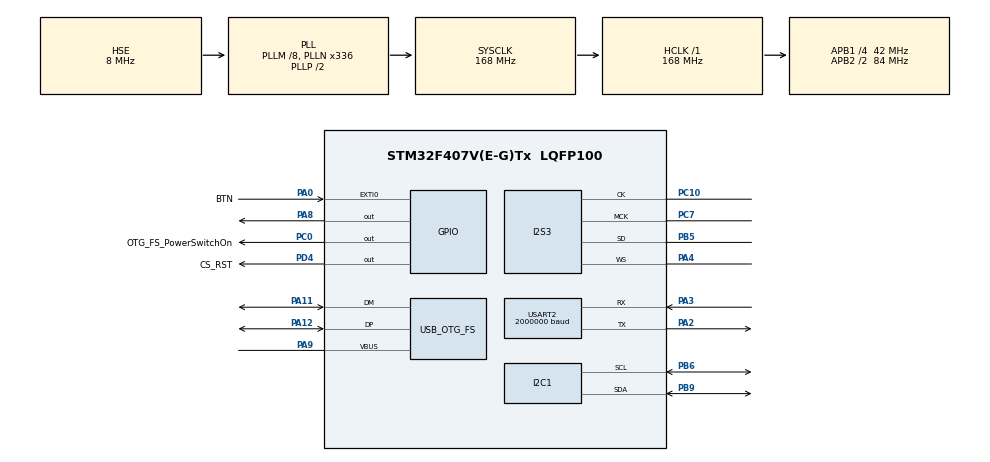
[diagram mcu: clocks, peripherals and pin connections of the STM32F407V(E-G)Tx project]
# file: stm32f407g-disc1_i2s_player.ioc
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ARM.CMSIS.5.6.0.CMSISJjCORE=true
ARM.CMSIS.5.6.0.CMSISJjDSP=Library
Dma.Request0=SPI3_TX
Dma.SPI3_TX.0.Direction=DMA_MEMORY_TO_PERIPH
Dma.SPI3_TX.0.FIFOMode=DMA_FIFOMODE_DISABLE
Dma.SPI3_TX.0.Instance=DMA1_Stream5
Dma.SPI3_TX.0.MemDataAlignment=DMA_MDATAALIGN_HALFWORD
Dma.SPI3_TX.0.MemInc=DMA_MINC_ENABLE
Dma.SPI3_TX.0.Mode=DMA_CIRCULAR
Dma.SPI3_TX.0.PeriphDataAlignment=DMA_PDATAALIGN_HALFWORD
Dma.SPI3_TX.0.PeriphInc=DMA_PINC_DISABLE
Dma.SPI3_TX.0.Priority=DMA_PRIORITY_LOW
FATFS._FS_EXFAT=1
FATFS._MAX_SS=4096
FATFS._MULTI_PARTITION=1
FATFS._USE_EXPAND=1
FATFS._USE_FIND=1
FATFS._USE_FORWARD=1
FATFS._USE_LABEL=1
FATFS._USE_LFN=1
FATFS._VOLUMES=4
I2C1.I2C_Mode=I2C_Fast
I2S3.AudioFreq=I2S_AUDIOFREQ_96K
I2S3.DataFormat=I2S_DATAFORMAT_16B
I2S3.ErrorAudioFreq=-0.01 %
I2S3.FullDuplexMode=I2S_FULLDUPLEXMODE_DISABLE
I2S3.Instance=SPI$Index
I2S3.RealAudioFreq=95.982 KHz
I2S3.Standard=I2S_STANDARD_PHILIPS
I2S3.VirtualMode=I2S_MODE_MASTER
Mcu.Family=STM32F4
Mcu.Name=STM32F407V(E-G)Tx
Mcu.Package=LQFP100
NVIC.DMA1_Stream5_IRQn=true\:0\:0\:false\:false\:true\:false\:true\:true
NVIC.OTG_FS_IRQn=true\:0\:0\:false\:false\:true\:false\:true\:true
NVIC.PriorityGroup=NVIC_PRIORITYGROUP_4
NVIC.SPI3_IRQn=true\:0\:0\:false\:false\:true\:true\:true\:true
PA0-WKUP.GPIO_Label=BTN
PA0-WKUP.GPIO_ModeDefaultEXTI=GPIO_MODE_IT_RISING_FALLING
PA0-WKUP.Signal=GPXTI0
PA11.Mode=Host_Only
PA11.Signal=USB_OTG_FS_DM
PA12.Mode=Host_Only
PA12.Signal=USB_OTG_FS_DP
PA13.Mode=Trace_Asynchronous_SW
PA13.Signal=SYS_JTMS-SWDIO
PA14.Mode=Trace_Asynchronous_SW
PA14.Signal=SYS_JTCK-SWCLK
PA2.Mode=Asynchronous
PA2.Signal=USART2_TX
PA3.Mode=Asynchronous
PA3.Signal=USART2_RX
PA4.Mode=Half_Duplex_Master
PA4.Signal=I2S3_WS
PA8.Signal=GPIO_Output
PA9.Mode=Activate_VBUS
PA9.Signal=USB_OTG_FS_VBUS
PB3.Mode=Trace_Asynchronous_SW
PB3.Signal=SYS_JTDO-SWO
PB5.Mode=Half_Duplex_Master
PB5.Signal=I2S3_SD
PB6.GPIO_Pu=GPIO_PULLUP
PB6.Mode=I2C
PB6.Signal=I2C1_SCL
PB9.GPIO_Pu=GPIO_PULLUP
PB9.Mode=I2C
PB9.Signal=I2C1_SDA
PC0.GPIO_Label=OTG_FS_PowerSwitchOn
PC0.GPIO_PuPd=GPIO_NOPULL
PC0.PinState=GPIO_PIN_RESET
PC0.Signal=GPIO_Output
PC10.Mode=Half_Duplex_Master
PC10.Signal=I2S3_CK
PC7.Mode=Master_Clock_Activated
PC7.Signal=I2S3_MCK
PD4.GPIO_Label=CS_RST
PD4.PinState=GPIO_PIN_RESET
PD4.Signal=GPIO_Output
PH0-OSC_IN.Mode=HSE-External-Oscillator
PH0-OSC_IN.Signal=RCC_OSC_IN
PH1-OSC_OUT.Mode=HSE-External-Oscillator
PH1-OSC_OUT.Signal=RCC_OSC_OUT
ProjectManager.HeapSize=0x200
ProjectManager.StackSize=0x400
ProjectManager.TargetToolchain=STM32CubeIDE
RCC.48MHZClocksFreq_Value=48000000
RCC.AHBFreq_Value=168000000
RCC.APB1CLKDivider=RCC_HCLK_DIV4
RCC.APB1Freq_Value=42000000
RCC.APB1TimFreq_Value=84000000
RCC.APB2CLKDivider=RCC_HCLK_DIV2
RCC.APB2Freq_Value=84000000
RCC.APB2TimFreq_Value=168000000
RCC.CortexFreq_Value=168000000
RCC.HCLKFreq_Value=168000000
RCC.HSE_VALUE=8000000
RCC.HSI_VALUE=16000000
RCC.LSE_VALUE=32768
RCC.PLLI2SN=344
RCC.PLLM=8
RCC.PLLN=336
RCC.PLLQ=7
RCC.SYSCLKFreq_VALUE=168000000
RCC.SYSCLKSource=RCC_SYSCLKSOURCE_PLLCLK
RCC.VCOOutputFreq_Value=336000000
USART2.BaudRate=2000000
USART2.OverSampling=UART_OVERSAMPLING_8
USART2.VirtualMode=VM_ASYNC
USB_HOST.BSP.number=1
USB_HOST.USBH_HandleTypeDef-MSC_FS=hUsbHostFS
USB_HOST.VirtualModeFS=Msc
USB_HOST0.BSP.STBoard=false
USB_HOST0.BSP.api=Unknown
USB_HOST0.BSP.condition=SW_VBUS_DRIVE_MSC_FS \= false
USB_HOST0.BSP.instance=PA8
USB_HOST0.BSP.ip=GPIO
USB_HOST0.BSP.mode=Output
USB_HOST0.BSP.name=Drive_VBUS_FS
USB_HOST0.BSP.solution=PA8
USB_OTG_FS.VirtualMode=Host_Only
USB_OTG_FS.phy_itface=HCD_PHY_EMBEDDED
VP_ARM.CMSIS_VS_CMSISJjCORE_5.3.0_5.6.0.Mode=CMSISJjCORE
VP_ARM.CMSIS_VS_CMSISJjDSP_1.7.0_5.6.0.Mode=CMSISJjDSP
VP_FATFS_VS_USB.Mode=USB
VP_USB_HOST_VS_USB_HOST_MSC_FS.Mode=MSC_FS
board=custom

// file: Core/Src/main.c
/* USER CODE BEGIN Header */
/**
 ******************************************************************************
 * @file           : main.c
 * @brief          : Main program body
 ******************************************************************************
 * @attention
 *
 * Copyright (c) 2025 Lars Boegild Thomsen <lth@stm32world.com>
 * All rights reserved.
 *
 * This software is licensed under terms that can be found in the LICENSE file
 * in the root directory of this software component.
 * If no LICENSE file comes with this software, it is provided AS-IS.
 *
 ******************************************************************************
 */
/* USER CODE END Header */
#include "main.h"
#include "fatfs.h"
#include "usb_host.h"

/* USER CODE BEGIN Includes */
#include <stdio.h>
#include <math.h>
#include "arm_math.h"
#include "cs43l22.h"
/* USER CODE END Includes */

/* USER CODE BEGIN PD */

#define TAU 6.28318530717958647692
#define I2S_DMA_BUFFER_SAMPLES 96
#define I2S_DMA_BUFFER_SIZE 2 * 2 * I2S_DMA_BUFFER_SAMPLES // 2 full buffers L+R samples
#define SAMPLE_FREQ 96000
#define OUTPUT_MID 32767 // 2^16 / 2 - 1

/* USER CODE END PD */

I2C_HandleTypeDef hi2c1;

I2S_HandleTypeDef hi2s3;
DMA_HandleTypeDef hdma_spi3_tx;

UART_HandleTypeDef huart2;

/* USER CODE BEGIN PV */

const char total_uptime_filename[] = "uptime.dat";
const char tick_filename[] = "tick.txt";
const char big_filename[] = "big.dat";

uint32_t total_uptime = 0;

CS43L22_HandleTypeDef cs;

int16_t i2s_dma_buffer[I2S_DMA_BUFFER_SIZE];

float angle[2] = {
        0,
        0
};

float angle_change[2] = {
        440.0 * (TAU / SAMPLE_FREQ), // left
        880.0 * (TAU / SAMPLE_FREQ)  // right
};

float amplification[2] = {
        1,
        1
};

uint8_t dma_buffer_processing = 0;
uint32_t dma_overflow = 0;

uint32_t i2c_cb, i2c_hcb;

/* USER CODE END PV */

void SystemClock_Config(void);
static void MX_GPIO_Init(void);
static void MX_DMA_Init(void);
static void MX_USART2_UART_Init(void);
static void MX_I2S3_Init(void);
static void MX_I2C1_Init(void);
void MX_USB_HOST_Process(void);

/* USER CODE BEGIN 0 */

// Send printf to uart1
int _write(int fd, char *ptr, int len) {
    HAL_StatusTypeDef hstatus;

    if (fd == 1 || fd == 2) {
        hstatus = HAL_UART_Transmit(&huart2, (uint8_t*) ptr, len, HAL_MAX_DELAY);
        if (hstatus == HAL_OK)
            return len;
        else
            return -1;
    }
    return -1;
}

//uint8_t BSP_SD_IsDetected(void)
//{
//    __IO uint8_t status = SD_PRESENT;
//
////    if (HAL_GPIO_ReadPin(SD_DETECT_GPIO_PORT, SD_DETECT_PIN) != GPIO_PIN_RESET) {
////        status = SD_NOT_PRESENT;
////    }
//
//    return status;
//}

void ls() {

    FRESULT res;
    DIR dir;
    char *path;

    path = ""; // where you want to list

    res = f_opendir(&dir, path);

#ifdef DEBUG
    if (res != FR_OK)
        printf("res = %d f_opendir\n", res);
#endif

    if (res == FR_OK) {
        while (1) {

            FILINFO fno;

            res = f_readdir(&dir, &fno);

#ifdef DEBUG
            if (res != FR_OK)
                printf("res = %d f_readdir\n", res);
#endif

            if ((res != FR_OK) || (fno.fname[0] == 0))
                break;

            printf("%c%c%c%c %10d %s/%s\n",
                    ((fno.fattrib & AM_DIR) ? 'D' : '-'),
                    ((fno.fattrib & AM_RDO) ? 'R' : '-'),
                    ((fno.fattrib & AM_SYS) ? 'S' : '-'),
                    ((fno.fattrib & AM_HID) ? 'H' : '-'),
                    (int) fno.fsize, path, fno.fname);
        }

    }

    uint32_t free_clusters;
    FATFS *fs_ptr;

    res = f_getfree("", &free_clusters, &fs_ptr);
    if (res == FR_OK) {
        uint32_t totalBlocks = (fs_ptr->n_fatent - 2) * fs_ptr->csize;
        uint32_t freeBlocks = free_clusters * fs_ptr->csize;

        printf("Total blocks: %lu (%lu Mb)\n", totalBlocks, totalBlocks / 2000);
        printf("Free blocks : %lu (%lu Mb)\n", freeBlocks, freeBlocks / 2000);
    } else {
        printf("Unable to get free space\n");
    }

}

void process_buffer(int16_t *buffer) {

    dma_buffer_processing = 1;

    for (int i = 0; i < I2S_DMA_BUFFER_SAMPLES; ++i) { // Two samples left/right per step

        buffer[i * 2] = OUTPUT_MID * amplification[0] * arm_sin_f32(angle[0]);      // Left
        buffer[i * 2 + 1] = OUTPUT_MID * amplification[1] * arm_sin_f32(angle[1]);  // Right

        angle[0] += angle_change[0];
        angle[1] += angle_change[1];

        if (angle[0] > TAU)
            angle[0] -= TAU;
        if (angle[1] > TAU)
            angle[1] -= TAU;
    }

    dma_buffer_processing = 0;

}

void HAL_I2S_TxCpltCallback(I2S_HandleTypeDef *hi2s) {
    if (dma_buffer_processing) {
        ++dma_overflow; // Still processing previous buffer
    } else {
        process_buffer(&i2s_dma_buffer[2 * I2S_DMA_BUFFER_SAMPLES]); // Second half
        ++i2c_cb;
    }
}

void HAL_I2S_TxHalfCpltCallback(I2S_HandleTypeDef *hi2s) {
    if (dma_buffer_processing) {
        ++dma_overflow; // Still processing previous buffer
    } else {
        process_buffer(&i2s_dma_buffer[0]);
        ++i2c_hcb;
    }

}

/* USER CODE END 0 */

int main(void)
{

  /* MCU Configuration--------------------------------------------------------*/

  /* Reset of all peripherals, Initializes the Flash interface and the Systick. */
  HAL_Init();

  /* Configure the system clock */
  SystemClock_Config();

  /* Initialize all configured peripherals */
  MX_GPIO_Init();
  MX_DMA_Init();
  MX_USART2_UART_Init();
  MX_I2S3_Init();
  MX_I2C1_Init();
  MX_FATFS_Init();
  MX_USB_HOST_Init();
  /* USER CODE BEGIN 2 */

    printf("\n\n\n--------\nStarting\n");

//    printf("SD Card Information:\n");
//    printf("Block size  : %lu\n", hsd.SdCard.BlockSize);
//    printf("Block nmbr  : %lu\n", hsd.SdCard.BlockNbr);
//    printf("Card size   : %lu\n", (hsd.SdCard.BlockSize * hsd.SdCard.BlockNbr) / 1000);
//    printf("Card version: %lu\n", hsd.SdCard.CardVersion);

    if (cs_init(&cs, &hi2c1, CS43L22_DEFAULT_ADDR, CS_RST_GPIO_Port, CS_RST_Pin)) {
        printf("Error: cs_init failed\n");
    }

    cs_hp_vol(&cs, 255);

    HAL_I2S_Transmit_DMA(&hi2s3, (uint16_t*) &i2s_dma_buffer, I2S_DMA_BUFFER_SIZE);

    HAL_Delay(5000);

    uint32_t wbytes, rbytes; /* File write counts */

    if (f_mount(&USBHFatFS, "", 0) != FR_OK) {
        printf("Unable to mount disk\n");
        Error_Handler();
    }

//    if (f_open(&USERFile, total_uptime_filename, FA_OPEN_EXISTING | FA_READ) == FR_OK) {
//        if (f_read(&USERFile, &total_uptime, sizeof(total_uptime), (void*) &rbytes) == FR_OK) {
//            printf("Total uptime = %lu\n", total_uptime);
//            f_close(&USERFile);
//        } else {
//            printf("Unable to read\n");
//            Error_Handler();
//        }
//    } else {
//        // File did not exist - let's create it
//        if (f_open(&USERFile, total_uptime_filename, FA_CREATE_ALWAYS | FA_WRITE) == FR_OK) {
//            if (f_write(&USERFile, &total_uptime, sizeof(total_uptime), (void*) &wbytes) == FR_OK) {
//                printf("File %s created\n", total_uptime_filename);
//                f_close(&USERFile);
//            } else {
//                printf("Unable to write\n");
//                Error_Handler();
//            }
//        } else {
//            printf("Unable to create\n");
//            Error_Handler();
//        }
//    }

    // Create tick file if it does NOT exist
    if (f_open(&USBHFile, tick_filename, FA_CREATE_ALWAYS | FA_WRITE) == FR_OK) {
        f_close(&USBHFile);
    }

    uint8_t buf[1024]; // 1K buffer
    for (uint16_t i = 0; i < 1024; ++i) {
        buf[i] = (uint8_t) i;
    }

    uint32_t start = uwTick;
    if (f_open(&USBHFile, big_filename, FA_CREATE_ALWAYS | FA_WRITE) == FR_OK) {
        for (uint16_t i = 0; i < 100; ++i) {
            if (f_write(&USBHFile, &buf, sizeof(buf), (void*) &wbytes) != FR_OK) {
                printf("Unable to write\n");
            }
        }
        f_close(&USBHFile);
    } else {
        printf("Unable to open %s\n", big_filename);
    }
    printf("Write took %lu ms\n", uwTick - start);

    ls();

  /* USER CODE END 2 */

  /* Infinite loop */
  /* USER CODE BEGIN WHILE */

    uint32_t loop = 0;
    uint32_t now = 0;
    uint32_t next_tick = 1000;

    while (1) {

        now = uwTick;

        if (now >= next_tick) {
            printf("Tick %lu (l=%lu o=%lu ch=%lu cf=%lu)\n", now / 1000, loop, dma_overflow, i2c_hcb, i2c_cb);
            loop = 0;
            next_tick = now + 1000;
        }

        ++loop;

    /* USER CODE END WHILE */
    MX_USB_HOST_Process();

    }
}

void SystemClock_Config(void)
{
  RCC_OscInitTypeDef RCC_OscInitStruct = {0};
  RCC_ClkInitTypeDef RCC_ClkInitStruct = {0};

  /** Configure the main internal regulator output voltage
  */
  __HAL_RCC_PWR_CLK_ENABLE();
  __HAL_PWR_VOLTAGESCALING_CONFIG(PWR_REGULATOR_VOLTAGE_SCALE1);

  /** Initializes the RCC Oscillators according to the specified parameters
  * in the RCC_OscInitTypeDef structure.
  */
  RCC_OscInitStruct.OscillatorType = RCC_OSCILLATORTYPE_HSE;
  RCC_OscInitStruct.HSEState = RCC_HSE_ON;
  RCC_OscInitStruct.PLL.PLLState = RCC_PLL_ON;
  RCC_OscInitStruct.PLL.PLLSource = RCC_PLLSOURCE_HSE;
  RCC_OscInitStruct.PLL.PLLM = 8;
  RCC_OscInitStruct.PLL.PLLN = 336;
  RCC_OscInitStruct.PLL.PLLP = RCC_PLLP_DIV2;
  RCC_OscInitStruct.PLL.PLLQ = 7;
  if (HAL_RCC_OscConfig(&RCC_OscInitStruct) != HAL_OK)
  {
    Error_Handler();
  }

  /** Initializes the CPU, AHB and APB buses clocks
  */
  RCC_ClkInitStruct.ClockType = RCC_CLOCKTYPE_HCLK|RCC_CLOCKTYPE_SYSCLK
                              |RCC_CLOCKTYPE_PCLK1|RCC_CLOCKTYPE_PCLK2;
  RCC_ClkInitStruct.SYSCLKSource = RCC_SYSCLKSOURCE_PLLCLK;
  RCC_ClkInitStruct.AHBCLKDivider = RCC_SYSCLK_DIV1;
  RCC_ClkInitStruct.APB1CLKDivider = RCC_HCLK_DIV4;
  RCC_ClkInitStruct.APB2CLKDivider = RCC_HCLK_DIV2;

  if (HAL_RCC_ClockConfig(&RCC_ClkInitStruct, FLASH_LATENCY_5) != HAL_OK)
  {
    Error_Handler();
  }
}

static void MX_I2C1_Init(void)
{

  hi2c1.Instance = I2C1;
  hi2c1.Init.ClockSpeed = 400000;
  hi2c1.Init.DutyCycle = I2C_DUTYCYCLE_2;
  hi2c1.Init.OwnAddress1 = 0;
  hi2c1.Init.AddressingMode = I2C_ADDRESSINGMODE_7BIT;
  hi2c1.Init.DualAddressMode = I2C_DUALADDRESS_DISABLE;
  hi2c1.Init.OwnAddress2 = 0;
  hi2c1.Init.GeneralCallMode = I2C_GENERALCALL_DISABLE;
  hi2c1.Init.NoStretchMode = I2C_NOSTRETCH_DISABLE;
  if (HAL_I2C_Init(&hi2c1) != HAL_OK)
  {
    Error_Handler();
  }

}

static void MX_I2S3_Init(void)
{

  hi2s3.Instance = SPI3;
  hi2s3.Init.Mode = I2S_MODE_MASTER_TX;
  hi2s3.Init.Standard = I2S_STANDARD_PHILIPS;
  hi2s3.Init.DataFormat = I2S_DATAFORMAT_16B;
  hi2s3.Init.MCLKOutput = I2S_MCLKOUTPUT_ENABLE;
  hi2s3.Init.AudioFreq = I2S_AUDIOFREQ_96K;
  hi2s3.Init.CPOL = I2S_CPOL_LOW;
  hi2s3.Init.ClockSource = I2S_CLOCK_PLL;
  hi2s3.Init.FullDuplexMode = I2S_FULLDUPLEXMODE_DISABLE;
  if (HAL_I2S_Init(&hi2s3) != HAL_OK)
  {
    Error_Handler();
  }

}

static void MX_USART2_UART_Init(void)
{

  huart2.Instance = USART2;
  huart2.Init.BaudRate = 2000000;
  huart2.Init.WordLength = UART_WORDLENGTH_8B;
  huart2.Init.StopBits = UART_STOPBITS_1;
  huart2.Init.Parity = UART_PARITY_NONE;
  huart2.Init.Mode = UART_MODE_TX_RX;
  huart2.Init.HwFlowCtl = UART_HWCONTROL_NONE;
  huart2.Init.OverSampling = UART_OVERSAMPLING_8;
  if (HAL_UART_Init(&huart2) != HAL_OK)
  {
    Error_Handler();
  }

}

static void MX_DMA_Init(void)
{

  /* DMA controller clock enable */
  __HAL_RCC_DMA1_CLK_ENABLE();

  /* DMA interrupt init */
  /* DMA1_Stream5_IRQn interrupt configuration */
  HAL_NVIC_SetPriority(DMA1_Stream5_IRQn, 0, 0);
  HAL_NVIC_EnableIRQ(DMA1_Stream5_IRQn);

}

static void MX_GPIO_Init(void)
{
  GPIO_InitTypeDef GPIO_InitStruct = {0};

  /* GPIO Ports Clock Enable */
  __HAL_RCC_GPIOH_CLK_ENABLE();
  __HAL_RCC_GPIOC_CLK_ENABLE();
  __HAL_RCC_GPIOA_CLK_ENABLE();
  __HAL_RCC_GPIOD_CLK_ENABLE();
  __HAL_RCC_GPIOB_CLK_ENABLE();

  /*Configure GPIO pin Output Level */
  HAL_GPIO_WritePin(OTG_FS_PowerSwitchOn_GPIO_Port, OTG_FS_PowerSwitchOn_Pin, GPIO_PIN_RESET);

  /*Configure GPIO pin Output Level */
  HAL_GPIO_WritePin(GPIOA, GPIO_PIN_8, GPIO_PIN_RESET);

  /*Configure GPIO pin Output Level */
  HAL_GPIO_WritePin(CS_RST_GPIO_Port, CS_RST_Pin, GPIO_PIN_RESET);

  /*Configure GPIO pin : OTG_FS_PowerSwitchOn_Pin */
  GPIO_InitStruct.Pin = OTG_FS_PowerSwitchOn_Pin;
  GPIO_InitStruct.Mode = GPIO_MODE_OUTPUT_PP;
  GPIO_InitStruct.Pull = GPIO_NOPULL;
  GPIO_InitStruct.Speed = GPIO_SPEED_FREQ_LOW;
  HAL_GPIO_Init(OTG_FS_PowerSwitchOn_GPIO_Port, &GPIO_InitStruct);

  /*Configure GPIO pin : BTN_Pin */
  GPIO_InitStruct.Pin = BTN_Pin;
  GPIO_InitStruct.Mode = GPIO_MODE_IT_RISING_FALLING;
  GPIO_InitStruct.Pull = GPIO_NOPULL;
  HAL_GPIO_Init(BTN_GPIO_Port, &GPIO_InitStruct);

  /*Configure GPIO pin : PA8 */
  GPIO_InitStruct.Pin = GPIO_PIN_8;
  GPIO_InitStruct.Mode = GPIO_MODE_OUTPUT_PP;
  GPIO_InitStruct.Pull = GPIO_NOPULL;
  GPIO_InitStruct.Speed = GPIO_SPEED_FREQ_LOW;
  HAL_GPIO_Init(GPIOA, &GPIO_InitStruct);

  /*Configure GPIO pin : CS_RST_Pin */
  GPIO_InitStruct.Pin = CS_RST_Pin;
  GPIO_InitStruct.Mode = GPIO_MODE_OUTPUT_PP;
  GPIO_InitStruct.Pull = GPIO_NOPULL;
  GPIO_InitStruct.Speed = GPIO_SPEED_FREQ_LOW;
  HAL_GPIO_Init(CS_RST_GPIO_Port, &GPIO_InitStruct);

}

void Error_Handler(void)
{
    __disable_irq();
    while (1)
    {
    }
}
